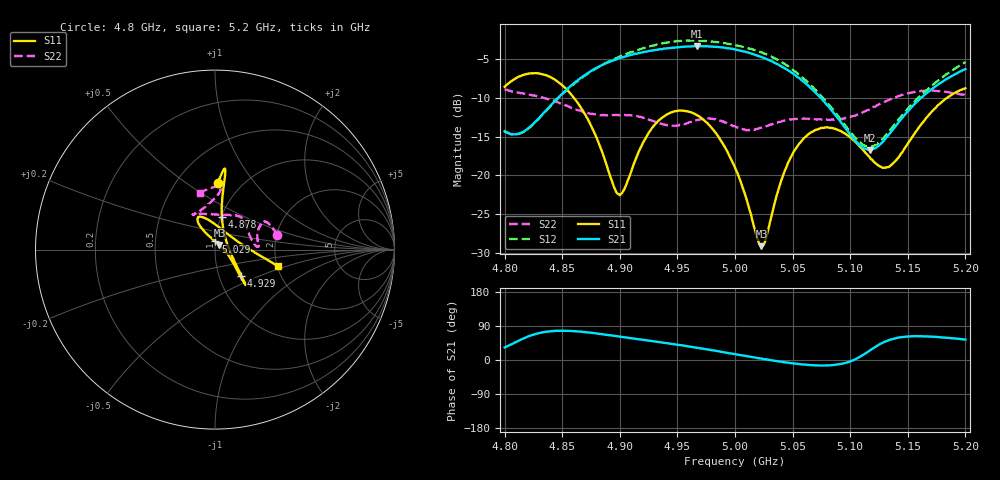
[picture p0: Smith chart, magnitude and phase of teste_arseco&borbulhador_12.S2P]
! Network Analyzer HP8722D
! Hewlett-Packard
! Data name: Linha & Wilkinson
! Saver's name: Rodrigo Anjos
! Comments: Teste da utilização de aquisição
! continua pelo VNA HP8722D
! Time and date: 15/4/2025 15:44
!  Frequency  S11  S21  S12  S22
# HZ  S  MA R 50
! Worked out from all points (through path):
!   401 points, 4.8 GHz to 5.2 GHz, reference 50 ohm
!   highest |S21| = -3.36 dB at 4.967 GHz (marker M1); lowest = -16.7 dB at 5.117 GHz (marker M2)
!   lowest |S11| = -29.1 dB at 5.023 GHz (marker M3), VSWR 1.07, Z = 52.4 + j2.65 ohm
!   |S11| at or under -10 dB: 4.86 GHz to 5.184 GHz (324.3 MHz wide, 6.46 % of centre)
!   |S22| runs from -14.2 to -9.0 dB; largest |S21 - S12| = 0.23
!   S11 on the Smith chart (normalised r, x): 4.8 GHz: 0.78, +0.67; 4.878 GHz: 1.00, +0.38; 4.929 GHz: 1.28, -0.39; 5.029 GHz: 1.00, +0.09; 5.2 GHz: 2.02, -0.43
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4.8e9  0.3712 87.8  0.1923 33.2  0.1925 -6.7  0.3556 13.4
4.815e9  0.4384 84.3  0.1891 54.9  0.1879 16.3  0.3382 23.8
4.834e9  0.4453 82.6  0.2525 73.5  0.2505 36.9  0.3155 29.8
4.867e9  0.2667 81.6  0.4279 74.3  0.4238 44.4  0.2586 22.7
4.878e9  0.1872 78.5  0.4841 70.8  0.4801 43.7  0.2475 17.6
4.895e9  0.0842 44.7  0.5526 63.8  0.5573 41.5  0.2442 9.5
4.9e9  0.0746 18.9  0.5677 61.5  0.5822 40.6  0.2435 7.4
4.929e9  0.206 -44.9  0.6372 49.7  0.6852 33.7  0.2238 6.8
4.934e9  0.2265 -46.6  0.6465 47.4  0.7001 32.1  0.2169 10.0
4.95e9  0.2603 -48.9  0.6666 40.2  0.7288 26.4  0.2098 25.9
4.967e9  0.2439 -48.5  0.6793 32.3  0.7353 19.5  0.2273 42.5
4.984e9  0.1841 -44.9  0.6705 23.9  0.719 13.1  0.2275 54.1
5e9  0.1127 -33.3  0.645 15.4  0.6879 7.1  0.2067 70.3
5.023e9  0.03511 45.9  0.5759 3.6  0.6185 -1.7  0.2026 102.2
5.029e9  0.04532 88.1  0.5536 0.5  0.5933 -4.0  0.2094 108.2
5.046e9  0.1204 120.7  0.4743 -7.2  0.5051 -9.8  0.227 119.1
5.067e9  0.1906 120.7  0.358 -13.6  0.373 -13.4  0.231 122.1
5.091e9  0.1942 111.1  0.2251 -11.0  0.2328 -6.4  0.2298 112.4
5.117e9  0.1305 82.9  0.1457 25.0  0.1528 33.1  0.2678 94.5
5.134e9  0.114 40.9  0.1847 52.9  0.1929 63.1  0.3058 87.1
5.174e9  0.2713 -9.2  0.3738 61.1  0.3948 79.6  0.3492 89.3
5.2e9  0.3637 -14.7  0.4818 53.9  0.5361 77.8  0.3267 104.6
